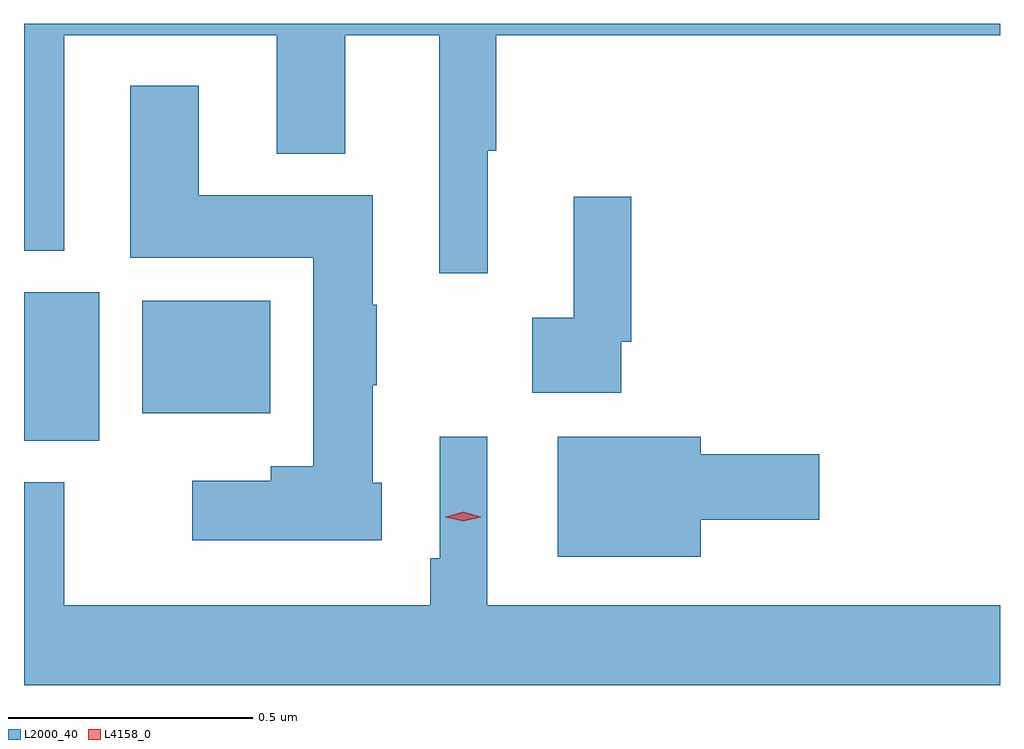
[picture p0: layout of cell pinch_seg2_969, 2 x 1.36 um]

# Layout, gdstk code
import gdstk
lib = gdstk.Library(unit=1e-6, precision=1e-09)
def R(c, l, rs):  # rectangles x0, y0, x1, y1
    for r in rs: c.add(gdstk.rectangle(r[:2], r[2:], *l))
def P(c, l, *ps):  # polygons
    for p in ps: c.add(gdstk.Polygon(p, *l))
L2000_40 = (2000, 40)
L4158_0 = (4158, 0)

pinch_seg2_969 = lib.new_cell('pinch_seg2_969')
R(pinch_seg2_969, L2000_40, [(360.129,649.469,360.283,649.774), (360.371,649.526,360.634,649.756)])
P(pinch_seg2_969, L2000_40, [(361.079,650.064),(361.097,650.064),(361.097,650.3),(362.129,650.3),(362.129,650.324),(360.129,650.324),(360.129,649.859),(360.211,649.859),(360.211,650.3),(360.647,650.3),(360.647,650.057),(360.787,650.057),(360.787,650.3),(360.98,650.3),(360.98,649.812),(361.079,649.812)],
  [(360.862,649.383),(360.844,649.383),(360.844,649.583),(360.852,649.583),(360.852,649.748),(360.844,649.748),(360.844,649.972),(360.487,649.972),(360.487,650.197),(360.347,650.197),(360.347,649.844),(360.722,649.844),(360.722,649.417),(360.635,649.417),(360.635,649.387),(360.474,649.387),(360.474,649.265),(360.862,649.265)],
  [(361.353,649.672),(361.373,649.672),(361.373,649.969),(361.256,649.969),(361.256,649.721),(361.17,649.721),(361.17,649.568),(361.353,649.568)],
  [(362.129,649.132),(361.078,649.132),(361.078,649.477),(360.981,649.477),(360.981,649.228),(360.961,649.228),(360.961,649.132),(360.211,649.132),(360.211,649.384),(360.129,649.384),(360.129,648.968),(362.129,648.968)],
  [(361.516,649.307),(361.759,649.307),(361.759,649.442),(361.516,649.442),(361.516,649.477),(361.223,649.477),(361.223,649.232),(361.516,649.232)])
P(pinch_seg2_969, L4158_0, [(361.029,649.304),(360.993,649.313),(360.993,649.314),(360.993,649.314),(361.029,649.324),(361.065,649.314),(361.065,649.313),(361.065,649.313)])

lib.write_gds('pinch_seg2_969.gds')
